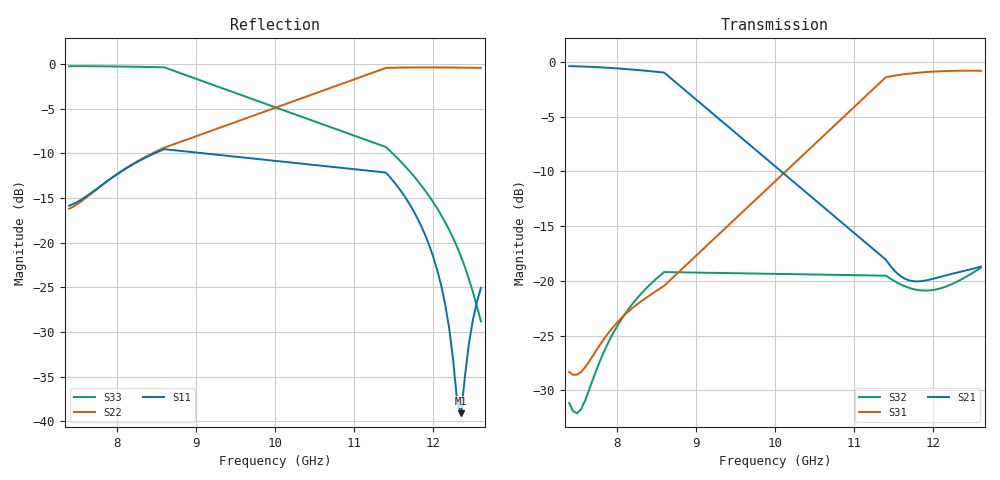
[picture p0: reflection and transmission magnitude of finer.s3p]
! yapnr rf: diplexer-x8x12, footprint re-simulated (refine 3)
! spec sha256 ef2c169852b7fa958bd1cfd29e224f501703003c4a9cb40ad4b62f1f70cdd8ac
! 3 ports renormalized to 50 ohm, e^(+jwt) convention
# GHz S RI R 50
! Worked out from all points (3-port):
!   50 points, 7.4 GHz to 12.6 GHz, reference 50 ohm
!   strongest paths, dB at 7.4 GHz, 8 GHz, 11.4 GHz, 12 GHz, 12.6 GHz:
!     S21: -0.4, -0.6, -18.1, -19.8, -18.7
!     S31: -28.3, -23.9, -1.4, -0.9, -0.8
!     S32: -31.2, -24.2, -19.5, -20.8, -18.8
!   lowest |S11| = -39.1 dB at 12.35 GHz (marker M1), VSWR 1.02, Z = 49 - j0.476 ohm
!   |S11| at or under -10 dB: start of sweep to 8.478 GHz; 9.104 GHz to end of sweep
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7.4  0.1606 -0.0122  0.1949 0.9356  0.0267 0.0384
     0.1971 0.9363  0.1454 -0.0532  -0.0236 0.0153
     0.0229 0.0308  -0.0253 0.0112  0.4272 -0.8739
7.55  0.1737 -0.00156  0.3241 0.8963  0.0142 0.0444
      0.3266 0.8962  0.1285 -0.1111  -0.0041 0.0287
      0.00891 0.0373  -0.00579 0.0253  0.3286 -0.9157
8.05  0.2467 -0.0319  0.6785 0.6397  -0.00544 0.0693
      0.6805 0.637  0.0121 -0.2493  0.0625 0.0237
      -0.0143 0.0655  0.0623 0.0215  -0.000404 -0.9684
8.6  0.2706 -0.1956  0.8718 0.2098  -0.0138 0.0905
     0.8705 0.2055  -0.1518 -0.3042  0.0971 -0.0436
     -0.0243 0.0918  0.0988 -0.0477  -0.3376 -0.8969
11.4  0.201 0.1435  -0.0731 -0.0938  0.8185 -0.1678
      -0.0762 -0.099  -0.7013 0.6415  0.0401 0.0866
      0.8327 -0.1808  0.0452 0.0955  -0.2485 0.2367
12  0.0762 -0.0327  -0.0111 -0.1027  0.5717 -0.6894
    -0.0182 -0.1007  -0.4103 0.8651  0.0782 -0.0213
    0.5682 -0.7025  0.0879 -0.0231  -0.0899 0.1419
12.15  0.0335 -0.03  -0.00704 -0.1089  0.4567 -0.7791
       -0.0136 -0.1049  -0.33 0.898  0.069 -0.0477
       0.4502 -0.7892  0.0782 -0.0521  -0.0665 0.1116
12.35  -0.00996 -0.00486  -0.00464 -0.1162  0.2835 -0.8642
       -0.00979 -0.1098  -0.2204 0.9292  0.0472 -0.0777
       0.2749 -0.8696  0.0549 -0.0853  -0.0445 0.0705
12.45  -0.0237 0.0137  -0.00393 -0.1194  0.1914 -0.891
       -0.00816 -0.1122  -0.1649 0.9394  0.0329 -0.0898
       0.1825 -0.8939  0.0395 -0.0987  -0.037 0.0502
12.6  -0.0333 0.0448  -0.00277 -0.1243  0.0498 -0.9112
      -0.00552 -0.1162  -0.0808 0.9481  0.00797 -0.1036
      0.0413 -0.9106  0.0126 -0.1142  -0.0297 0.0208
